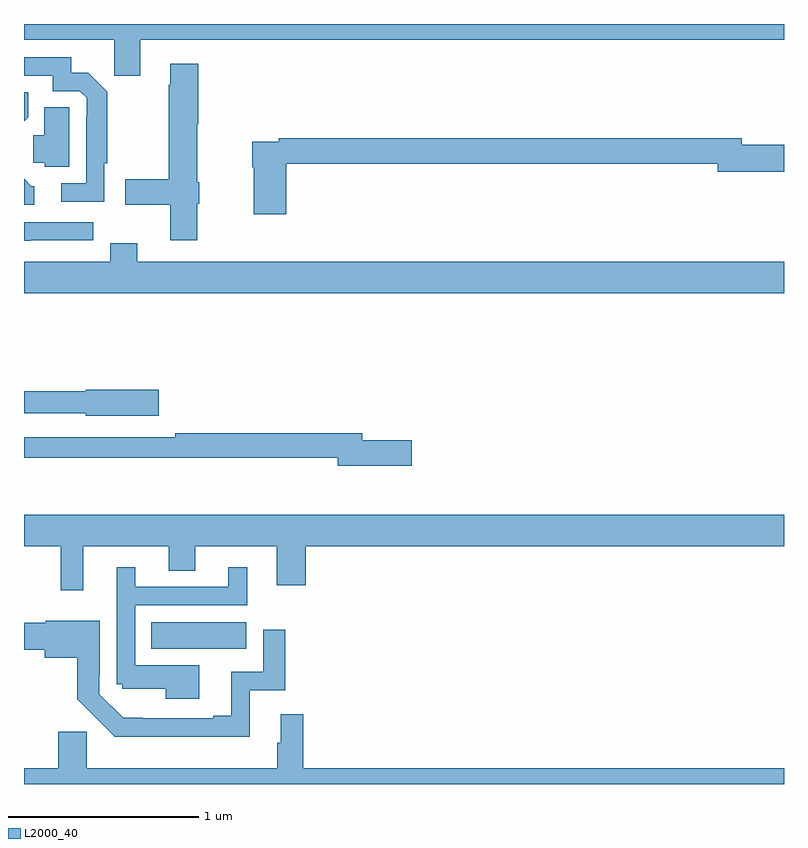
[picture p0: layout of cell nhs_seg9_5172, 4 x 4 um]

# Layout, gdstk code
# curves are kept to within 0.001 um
import gdstk
lib = gdstk.Library(unit=1e-6, precision=1e-09)
def R(c, l, rs):  # rectangles x0, y0, x1, y1
    for r in rs: c.add(gdstk.rectangle(r[:2], r[2:], *l))
def P(c, l, *ps):  # polygons
    for p in ps: c.add(gdstk.Polygon(p, *l))
L2000_40 = (2000, 40)

nhs_seg9_5172 = lib.new_cell('nhs_seg9_5172')
R(nhs_seg9_5172, L2000_40, [(411.67,1197.212,412.171,1197.352)])
P(nhs_seg9_5172, L2000_40, [(411.613,1200.416),(415,1200.416),(415,1200.5),(411,1200.5),(411,1200.416),(411.475,1200.416),(411.475,1200.228),(411.613,1200.228)],
  [(411.423,1199.768),(411.438,1199.768),(411.438,1200.144),(411.338,1200.244),(411.249,1200.244),(411.249,1200.324),(411,1200.324),(411,1200.228),(411.15,1200.228),(411.15,1200.147),(411.294,1200.147),(411.33,1200.111),(411.33,1200.011),(411.327,1200.011),(411.327,1199.661),(411.195,1199.661),(411.195,1199.565),(411.423,1199.565)],
  [(411.912,1199.553),(411.922,1199.553),(411.922,1199.667),(411.912,1199.667),(411.912,1199.973),(411.917,1199.973),(411.917,1200.292),(411.77,1200.292),(411.77,1200.179),(411.763,1200.179),(411.763,1199.684),(411.534,1199.684),(411.534,1199.549),(411.77,1199.549),(411.77,1199.361),(411.912,1199.361)],
  [(411.022,1200.01),(411.022,1200.142),(411,1200.142),(411,1199.988)],
  [(411.237,1200.062),(411.107,1200.062),(411.107,1199.915),(411.048,1199.915),(411.048,1199.769),(411.108,1199.769),(411.108,1199.75),(411.237,1199.75)],
  [(412.379,1199.764),(414.65,1199.764),(414.65,1199.722),(415,1199.722),(415,1199.864),(414.778,1199.864),(414.778,1199.9),(412.342,1199.9),(412.342,1199.88),(412.201,1199.88),(412.201,1199.747),(412.208,1199.747),(412.208,1199.499),(412.379,1199.499)],
  [(411.055,1199.646),(411.039,1199.646),(411,1199.685),(411,1199.55),(411.055,1199.55)],
  [(411.035,1199.361),(411.364,1199.361),(411.364,1199.457),(411,1199.457),(411,1199.36),(411.035,1199.36)],
  [(415,1199.248),(411.595,1199.248),(411.595,1199.347),(411.455,1199.347),(411.455,1199.248),(411,1199.248),(411,1199.084),(415,1199.084)],
  [(411.709,1198.574),(411.324,1198.574),(411.324,1198.568),(411,1198.568),(411,1198.452),(411.324,1198.452),(411.324,1198.439),(411.709,1198.439)],
  [(413.041,1198.31),(412.78,1198.31),(412.78,1198.346),(411.796,1198.346),(411.796,1198.326),(411,1198.326),(411,1198.218),(412.652,1198.218),(412.652,1198.175),(413.041,1198.175)],
  [(411.311,1197.752),(411.761,1197.752),(411.761,1197.622),(411.901,1197.622),(411.901,1197.752),(412.331,1197.752),(412.331,1197.546),(412.484,1197.546),(412.484,1197.752),(415,1197.752),(415,1197.916),(411,1197.916),(411,1197.752),(411.193,1197.752),(411.193,1197.519),(411.311,1197.519)],
  [(411.922,1197.124),(411.585,1197.124),(411.585,1197.441),(412.174,1197.441),(412.174,1197.64),(412.076,1197.64),(412.076,1197.537),(411.586,1197.537),(411.586,1197.64),(411.489,1197.64),(411.489,1197.024),(411.516,1197.024),(411.516,1197.002),(411.746,1197.002),(411.746,1196.948),(411.922,1196.948)],
  [(411.677,1196.75),(412.189,1196.75),(412.189,1196.994),(412.376,1196.994),(412.376,1197.313),(412.26,1197.313),(412.26,1197.09),(412.091,1197.09),(412.091,1196.86),(411.995,1196.86),(411.995,1196.847),(411.522,1196.848),(411.396,1196.973),(411.396,1197.073),(411.399,1197.073),(411.399,1197.358),(411.114,1197.358),(411.114,1197.348),(411,1197.348),(411,1197.206),(411.11,1197.206),(411.11,1197.164),(411.281,1197.164),(411.281,1196.945),(411.478,1196.748),(411.677,1196.748)],
  [(415,1196.584),(412.469,1196.584),(412.469,1196.866),(412.352,1196.866),(412.352,1196.717),(412.333,1196.717),(412.333,1196.584),(411.329,1196.584),(411.329,1196.775),(411.179,1196.775),(411.179,1196.584),(411,1196.584),(411,1196.5),(415,1196.5)])

lib.write_gds('nhs_seg9_5172.gds')
